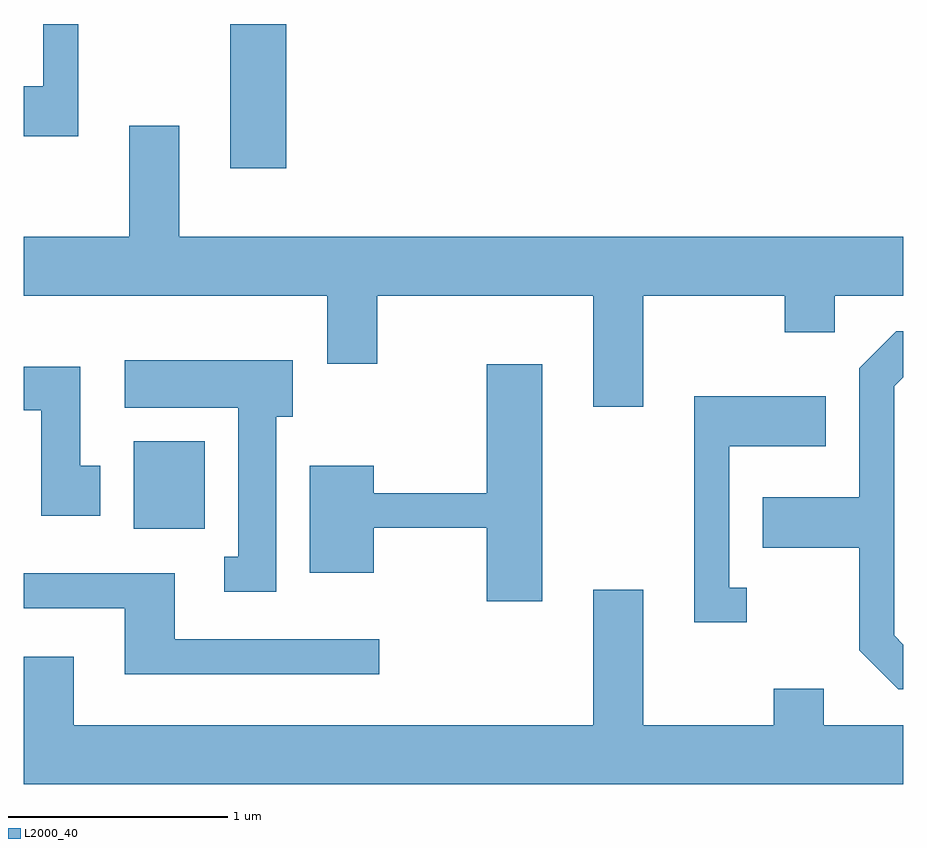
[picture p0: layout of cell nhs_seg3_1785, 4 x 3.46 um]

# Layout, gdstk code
import gdstk
lib = gdstk.Library(unit=1e-6, precision=1e-09)
def R(c, l, rs):  # rectangles x0, y0, x1, y1
    for r in rs: c.add(gdstk.rectangle(r[:2], r[2:], *l))
def P(c, l, *ps):  # polygons
    for p in ps: c.add(gdstk.Polygon(p, *l))
L2000_40 = (2000, 40)

nhs_seg3_1785 = lib.new_cell('nhs_seg3_1785')
R(nhs_seg3_1785, L2000_40, [(238.111,1151.596,238.434,1151.994), (238.551,1153.236,238.804,1153.892)])
P(nhs_seg3_1785, L2000_40, [(237.859,1153.892),(237.701,1153.892),(237.701,1153.609),(237.611,1153.609),(237.611,1153.381),(237.859,1153.381)],
  [(240.429,1152.656),(241.071,1152.656),(241.071,1152.491),(241.299,1152.491),(241.299,1152.656),(241.611,1152.656),(241.611,1152.924),(238.319,1152.924),(238.319,1153.429),(238.091,1153.429),(238.091,1152.924),(237.611,1152.924),(237.611,1152.656),(238.991,1152.656),(238.991,1152.346),(239.219,1152.346),(239.219,1152.656),(240.201,1152.656),(240.201,1152.151),(240.429,1152.151)],
  [(241.611,1151.07),(241.569,1151.112),(241.569,1152.244),(241.611,1152.286),(241.611,1152.494),(241.579,1152.494),(241.411,1152.327),(241.411,1151.739),(240.971,1151.739),(240.971,1151.511),(241.411,1151.511),(241.411,1151.044),(241.589,1150.866),(241.611,1150.866)],
  [(238.759,1152.106),(238.834,1152.106),(238.834,1152.364),(238.071,1152.364),(238.071,1152.146),(238.586,1152.146),(238.586,1151.469),(238.523,1151.469),(238.523,1151.311),(238.759,1151.311)],
  [(239.969,1152.344),(239.716,1152.344),(239.716,1151.759),(239.204,1151.759),(239.204,1151.884),(238.911,1151.884),(238.911,1151.396),(239.204,1151.396),(239.204,1151.601),(239.716,1151.601),(239.716,1151.266),(239.969,1151.266)],
  [(237.959,1151.884),(237.869,1151.884),(237.869,1152.334),(237.611,1152.334),(237.611,1152.136),(237.691,1152.136),(237.691,1151.656),(237.959,1151.656)],
  [(240.898,1151.329),(240.819,1151.329),(240.819,1151.971),(241.259,1151.971),(241.259,1152.199),(240.661,1152.199),(240.661,1151.171),(240.898,1151.171)],
  [(239.228,1151.094),(238.299,1151.094),(238.299,1151.394),(237.611,1151.394),(237.611,1151.236),(238.071,1151.236),(238.071,1150.936),(239.228,1150.936)],
  [(241.611,1150.704),(241.249,1150.704),(241.249,1150.869),(241.021,1150.869),(241.021,1150.704),(240.429,1150.704),(240.429,1151.319),(240.201,1151.319),(240.201,1150.704),(237.839,1150.704),(237.839,1151.014),(237.611,1151.014),(237.611,1150.436),(241.611,1150.436)])

lib.write_gds('nhs_seg3_1785.gds')
